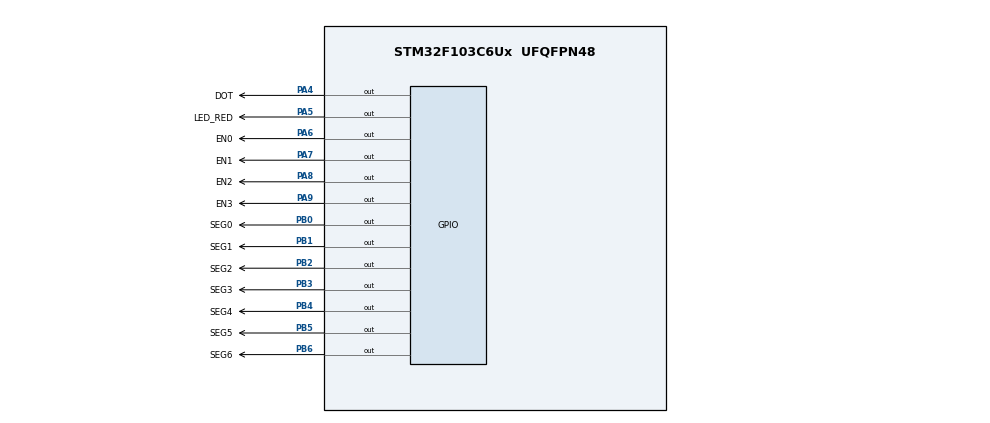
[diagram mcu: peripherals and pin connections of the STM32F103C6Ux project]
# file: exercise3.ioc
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Mcu.Family=STM32F1
Mcu.Name=STM32F103C6Ux
Mcu.Package=UFQFPN48
NVIC.PriorityGroup=NVIC_PRIORITYGROUP_4
NVIC.TIM2_IRQn=true\:0\:0\:false\:false\:true\:true\:true
PA4.GPIO_Label=DOT
PA4.Signal=GPIO_Output
PA5.GPIO_Label=LED_RED
PA5.Signal=GPIO_Output
PA6.GPIO_Label=EN0
PA6.Signal=GPIO_Output
PA7.GPIO_Label=EN1
PA7.Signal=GPIO_Output
PA8.GPIO_Label=EN2
PA8.Signal=GPIO_Output
PA9.GPIO_Label=EN3
PA9.Signal=GPIO_Output
PB0.GPIO_Label=SEG0
PB0.Signal=GPIO_Output
PB1.GPIO_Label=SEG1
PB1.Signal=GPIO_Output
PB2.GPIO_Label=SEG2
PB2.Signal=GPIO_Output
PB3.GPIO_Label=SEG3
PB3.Signal=GPIO_Output
PB4.GPIO_Label=SEG4
PB4.Signal=GPIO_Output
PB5.GPIO_Label=SEG5
PB5.Signal=GPIO_Output
PB6.GPIO_Label=SEG6
PB6.Signal=GPIO_Output
ProjectManager.HeapSize=0x200
ProjectManager.StackSize=0x400
ProjectManager.TargetToolchain=STM32CubeIDE
RCC.APB1Freq_Value=8000000
RCC.APB2Freq_Value=8000000
TIM2.Period=9
TIM2.Prescaler=7999
VP_SYS_VS_ND.Mode=No_Debug
VP_TIM2_VS_ClockSourceINT.Mode=Internal
board=custom

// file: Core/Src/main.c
/* USER CODE BEGIN Header */
/**
  ******************************************************************************
  * @file           : main.c
  * @brief          : Main program body
  ******************************************************************************
  * @attention
  *
  * <h2><center>&copy; Copyright (c) 2022 STMicroelectronics.
  * All rights reserved.</center></h2>
  *
  * This software component is licensed by ST under BSD 3-Clause license,
  * the "License"; You may not use this file except in compliance with the
  * License. You may obtain a copy of the License at:
  *                        opensource.org/licenses/BSD-3-Clause
  *
  ******************************************************************************
  */
/* USER CODE END Header */
#include "main.h"

/* USER CODE BEGIN Includes */
#include "display7SEG.h"
/* USER CODE END Includes */

TIM_HandleTypeDef htim2;

void SystemClock_Config(void);
static void MX_GPIO_Init(void);
static void MX_TIM2_Init(void);

int main(void)
{

  /* MCU Configuration--------------------------------------------------------*/

  /* Reset of all peripherals, Initializes the Flash interface and the Systick. */
  HAL_Init();

  /* Configure the system clock */
  SystemClock_Config();

  /* Initialize all configured peripherals */
  MX_GPIO_Init();
  MX_TIM2_Init();
  /* USER CODE BEGIN 2 */
  HAL_TIM_Base_Start_IT(&htim2);
  /* USER CODE END 2 */

  /* Infinite loop */
  while (1)
  {

  }
}

void SystemClock_Config(void)
{
  RCC_OscInitTypeDef RCC_OscInitStruct = {0};
  RCC_ClkInitTypeDef RCC_ClkInitStruct = {0};

  /** Initializes the RCC Oscillators according to the specified parameters
  * in the RCC_OscInitTypeDef structure.
  */
  RCC_OscInitStruct.OscillatorType = RCC_OSCILLATORTYPE_HSI;
  RCC_OscInitStruct.HSIState = RCC_HSI_ON;
  RCC_OscInitStruct.HSICalibrationValue = RCC_HSICALIBRATION_DEFAULT;
  RCC_OscInitStruct.PLL.PLLState = RCC_PLL_NONE;
  if (HAL_RCC_OscConfig(&RCC_OscInitStruct) != HAL_OK)
  {
    Error_Handler();
  }
  /** Initializes the CPU, AHB and APB buses clocks
  */
  RCC_ClkInitStruct.ClockType = RCC_CLOCKTYPE_HCLK|RCC_CLOCKTYPE_SYSCLK
                              |RCC_CLOCKTYPE_PCLK1|RCC_CLOCKTYPE_PCLK2;
  RCC_ClkInitStruct.SYSCLKSource = RCC_SYSCLKSOURCE_HSI;
  RCC_ClkInitStruct.AHBCLKDivider = RCC_SYSCLK_DIV1;
  RCC_ClkInitStruct.APB1CLKDivider = RCC_HCLK_DIV1;
  RCC_ClkInitStruct.APB2CLKDivider = RCC_HCLK_DIV1;

  if (HAL_RCC_ClockConfig(&RCC_ClkInitStruct, FLASH_LATENCY_0) != HAL_OK)
  {
    Error_Handler();
  }
}

static void MX_TIM2_Init(void)
{

  TIM_ClockConfigTypeDef sClockSourceConfig = {0};
  TIM_MasterConfigTypeDef sMasterConfig = {0};

  htim2.Instance = TIM2;
  htim2.Init.Prescaler = 7999;
  htim2.Init.CounterMode = TIM_COUNTERMODE_UP;
  htim2.Init.Period = 9;
  htim2.Init.ClockDivision = TIM_CLOCKDIVISION_DIV1;
  htim2.Init.AutoReloadPreload = TIM_AUTORELOAD_PRELOAD_DISABLE;
  if (HAL_TIM_Base_Init(&htim2) != HAL_OK)
  {
    Error_Handler();
  }
  sClockSourceConfig.ClockSource = TIM_CLOCKSOURCE_INTERNAL;
  if (HAL_TIM_ConfigClockSource(&htim2, &sClockSourceConfig) != HAL_OK)
  {
    Error_Handler();
  }
  sMasterConfig.MasterOutputTrigger = TIM_TRGO_RESET;
  sMasterConfig.MasterSlaveMode = TIM_MASTERSLAVEMODE_DISABLE;
  if (HAL_TIMEx_MasterConfigSynchronization(&htim2, &sMasterConfig) != HAL_OK)
  {
    Error_Handler();
  }

}

static void MX_GPIO_Init(void)
{
  GPIO_InitTypeDef GPIO_InitStruct = {0};

  /* GPIO Ports Clock Enable */
  __HAL_RCC_GPIOA_CLK_ENABLE();
  __HAL_RCC_GPIOB_CLK_ENABLE();

  /*Configure GPIO pin Output Level */
  HAL_GPIO_WritePin(GPIOA, DOT_Pin|LED_RED_Pin|EN0_Pin|EN1_Pin
                          |EN2_Pin|EN3_Pin, GPIO_PIN_RESET);

  /*Configure GPIO pin Output Level */
  HAL_GPIO_WritePin(GPIOB, SEG0_Pin|SEG1_Pin|SEG2_Pin|SEG3_Pin
                          |SEG4_Pin|SEG5_Pin|SEG6_Pin, GPIO_PIN_RESET);

  /*Configure GPIO pins : DOT_Pin LED_RED_Pin EN0_Pin EN1_Pin
                           EN2_Pin EN3_Pin */
  GPIO_InitStruct.Pin = DOT_Pin|LED_RED_Pin|EN0_Pin|EN1_Pin
                          |EN2_Pin|EN3_Pin;
  GPIO_InitStruct.Mode = GPIO_MODE_OUTPUT_PP;
  GPIO_InitStruct.Pull = GPIO_NOPULL;
  GPIO_InitStruct.Speed = GPIO_SPEED_FREQ_LOW;
  HAL_GPIO_Init(GPIOA, &GPIO_InitStruct);

  /*Configure GPIO pins : SEG0_Pin SEG1_Pin SEG2_Pin SEG3_Pin
                           SEG4_Pin SEG5_Pin SEG6_Pin */
  GPIO_InitStruct.Pin = SEG0_Pin|SEG1_Pin|SEG2_Pin|SEG3_Pin
                          |SEG4_Pin|SEG5_Pin|SEG6_Pin;
  GPIO_InitStruct.Mode = GPIO_MODE_OUTPUT_PP;
  GPIO_InitStruct.Pull = GPIO_NOPULL;
  GPIO_InitStruct.Speed = GPIO_SPEED_FREQ_LOW;
  HAL_GPIO_Init(GPIOB, &GPIO_InitStruct);

}

/* USER CODE BEGIN 4 */

int index_led = 0 ;
int led_buffer[4] = {1,2,3,4};
const int MAX_LED = 4 ;
void update7SEG(int index){
	switch (index) {
		case 0:
			// Display the first 7 SEG with led_buffer [0]
			display7SEG(led_buffer[index]);
			HAL_GPIO_WritePin(EN0_GPIO_Port, EN0_Pin, RESET) ;
			HAL_GPIO_WritePin(EN1_GPIO_Port, EN1_Pin, SET) ;
			HAL_GPIO_WritePin(EN2_GPIO_Port, EN2_Pin, SET) ;
			HAL_GPIO_WritePin(EN3_GPIO_Port, EN3_Pin, SET) ;
			break;
		case 1:
			// Display the first 7 SEG with led_buffer [1]
			display7SEG(led_buffer[index]);
			HAL_GPIO_WritePin(EN0_GPIO_Port, EN0_Pin, SET) ;
			HAL_GPIO_WritePin(EN1_GPIO_Port, EN1_Pin, RESET) ;
			HAL_GPIO_WritePin(EN2_GPIO_Port, EN2_Pin, SET) ;
			HAL_GPIO_WritePin(EN3_GPIO_Port, EN3_Pin, SET) ;
			break;
		case 2:
			// Display the first 7 SEG with led_buffer [2]
			display7SEG(led_buffer[index]);
			HAL_GPIO_WritePin(EN0_GPIO_Port, EN0_Pin, SET) ;
			HAL_GPIO_WritePin(EN1_GPIO_Port, EN1_Pin, SET) ;
			HAL_GPIO_WritePin(EN2_GPIO_Port, EN2_Pin, RESET) ;
			HAL_GPIO_WritePin(EN3_GPIO_Port, EN3_Pin, SET) ;
			break;
		case 3:
			// Display the first 7 SEG with led_buffer [3]
			display7SEG(led_buffer[index]);
			HAL_GPIO_WritePin(EN0_GPIO_Port, EN0_Pin, SET) ;
			HAL_GPIO_WritePin(EN1_GPIO_Port, EN1_Pin, SET) ;
			HAL_GPIO_WritePin(EN2_GPIO_Port, EN2_Pin, SET) ;
			HAL_GPIO_WritePin(EN3_GPIO_Port, EN3_Pin, RESET) ;
			break;
		default:
			break;
	}
}

int counter = 25;
int led = 100 ;
int status = 0 ;
int flag = 0 ;
void HAL_TIM_PeriodElapsedCallback ( TIM_HandleTypeDef * htim ){
	counter--;
	led--;
	if(counter <= 0){
		counter = 25 ;
		HAL_GPIO_TogglePin(LED_RED_GPIO_Port, LED_RED_Pin);
		if(index_led >= MAX_LED ) index_led = 0 ;
		update7SEG(index_led++);
	}
	if(led <= 0){
		led = 100;

		HAL_GPIO_TogglePin(DOT_GPIO_Port, DOT_Pin) ;
	}
}
/* USER CODE END 4 */

void Error_Handler(void)
{
  __disable_irq();
  while (1)
  {
  }
}

/************************ (C) COPYRIGHT STMicroelectronics *****END OF FILE****/
